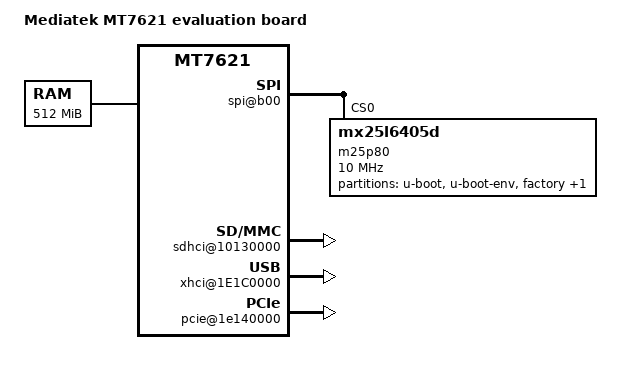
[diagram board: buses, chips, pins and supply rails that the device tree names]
/dts-v1/;

/include/ "mt7621.dtsi"

/ {
	compatible = "mediatek,mt7621-eval-board", "mediatek,mt7621-soc";
	model = "Mediatek MT7621 evaluation board";

	memory@0 {
		device_type = "memory";
		reg = <0x0 0x1c000000>, <0x20000000 0x4000000>;
	};

	chosen {
		bootargs = "console=ttyS0,115200";
	};

	palmbus@1E000000 {
		spi@b00 {
			status = "okay";

			m25p80@0 {
				#address-cells = <1>;
				#size-cells = <1>;
				compatible = "mx25l6405d";
				reg = <0 0>;
				linux,modalias = "m25p80", "en25q64";
				spi-max-frequency = <10000000>;

				partition@0 {
					label = "u-boot";
					reg = <0x0 0x30000>;
					read-only;
				};

				partition@30000 {
					label = "u-boot-env";
					reg = <0x30000 0x10000>;
					read-only;
				};

				factory: partition@40000 {
					label = "factory";
					reg = <0x40000 0x10000>;
					read-only;
				};

				partition@50000 {
					label = "firmware";
					reg = <0x50000 0xfb0000>;
				};
			};
		};
	};

	sdhci@10130000 {
		status = "okay";
	};

	xhci@1E1C0000 {
		status = "okay";
	};

	pinctrl {
		state_default: pinctrl0 {
			gpio {
				ralink,group = "i2c", "uart2", "uart3", "rgmii2", "sdhci";
				ralink,function = "gpio";
			};
		};
	};

	pcie@1e140000 {
		status = "okay";
	};
};
